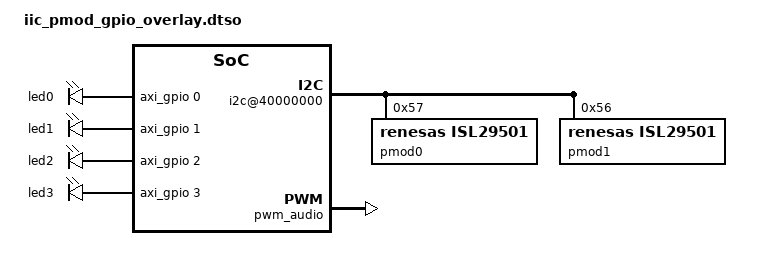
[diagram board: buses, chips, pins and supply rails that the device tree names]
/dts-v1/;
/plugin/;
/ {
	fragment@0 {
		target = <&amba>;
		// #address-cells = <1>;
		// #size-cells = <1>;

		__overlay__ {
			#address-cells = <1>;
			#size-cells = <1>;
			
			i2c@40000000 {
				compatible = "xlnx,xps-iic-2.00.a";
				interrupt-parent = <&intc>;
				interrupt-names = "iic2intc_irpt";
				interrupts = <0 29 4>;
				clock-names = "s_axi_aclk";
				clocks = <&clkc 15>;
				reg = <0x40000000 0x200>;
				#address-cells = <1>;
				#size-cells = <0>;

				pmod0@57 {
					compatible = "renesas,isl29501";
					reg = <0x57>;
				};
				
				pmod1@56 {
					compatible = "renesas,isl29501";
					reg = <0x56>;
				};
			};
			
			axi_gpio: gpio@40004000 {
        			#gpio-cells = <2>;
        			compatible = "xlnx,xps-gpio-1.00.a";
        			gpio-controller ;
        			reg = <0x40004000 0x200>;
			};
			leds {
				compatible = "gpio-leds";
				led0 {
					gpios = <&axi_gpio 0 GPIO_ACTIVE_HIGH>;
					default-state = "off";
				};

				led1 {
					gpios = <&axi_gpio 1 GPIO_ACTIVE_HIGH>;
					default-state = "off";
				};
				led2 {
					gpios = <&axi_gpio 2 GPIO_ACTIVE_HIGH>;
					default-state = "off";
				};

				led3 {
					gpios = <&axi_gpio 3 GPIO_ACTIVE_HIGH>;
					default-state = "off";
				};
			};
			
			pwm_audio: pwm@42000000 {
					compatible = "capstone,pwm_driver";
					reg = <0x40008000 0x1000>, <0x42000000 0x1000>;
			};
			
		};
	};
};
